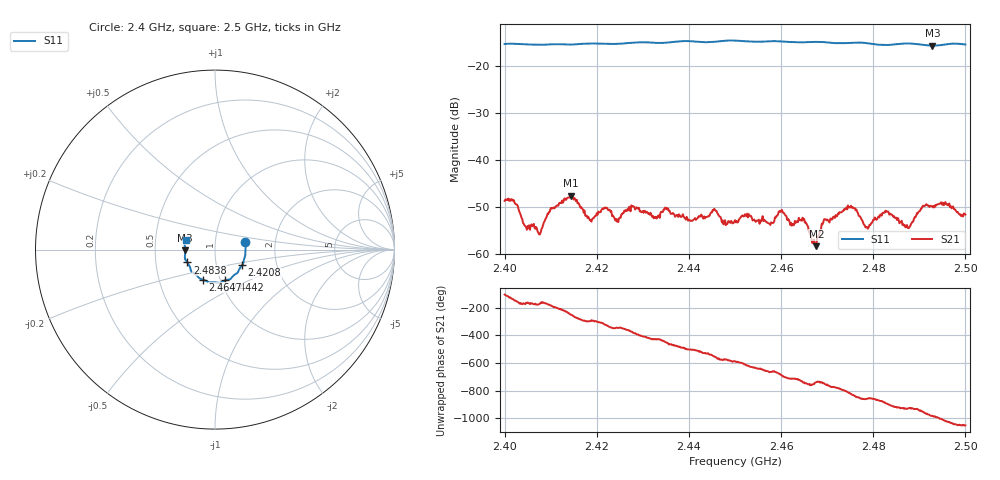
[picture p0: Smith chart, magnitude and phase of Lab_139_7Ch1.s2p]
# Hz S RI R 50
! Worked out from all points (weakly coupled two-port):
!   601 points, 2.4 GHz to 2.5 GHz, reference 50 ohm
!   highest |S21| = -47.54 dB at 2.4143 GHz (marker M1); lowest = -58.3 dB at 2.4677 GHz (marker M2)
!   lowest |S11| = -15.6 dB at 2.4928 GHz (marker M3), VSWR 1.40, Z = 35.8 - j0.335 ohm
!   |S11| at or under -10 dB: start of sweep to end of sweep
!   S12 and S22 are empty: the file has one direction only
!   S11 on the Smith chart (normalised r, x): 2.4 GHz: 1.40, +0.12; 2.4208 GHz: 1.33, -0.24; 2.4442 GHz: 1.05, -0.37; 2.4647 GHz: 0.83, -0.29; 2.4838 GHz: 0.73, -0.11; 2.5 GHz: 0.72, +0.08
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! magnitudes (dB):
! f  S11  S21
! 2.4 GHz  -15.3  -48.6
! 2.4075 GHz  -15.4  -55.8
! 2.4102 GHz  -15.3  -50.2
! 2.4143 GHz  -15.4  -47.5
! 2.4167 GHz  -15.2  -50.0
! 2.4188 GHz  -15.1  -53.1
! 2.4208 GHz  -15.2  -51.1
! 2.4333 GHz  -15.0  -51.8
! 2.4442 GHz  -14.9  -51.9
! 2.45 GHz  -14.5  -52.8
! 2.46 GHz  -14.7  -50.8
! 2.4647 GHz  -14.9  -52.2
! 2.4667 GHz  -14.8  -57.2
! 2.4677 GHz  -14.8  -58.3
! 2.4693 GHz  -14.9  -52.6
! 2.4747 GHz  -15.0  -50.1
! 2.4785 GHz  -15.1  -54.2
! 2.4833 GHz  -15.5  -51.1
! 2.4838 GHz  -15.4  -51.5
! 2.4875 GHz  -15.1  -54.4
! 2.4928 GHz  -15.6  -49.8
! 2.5 GHz  -15.4  -51.6
